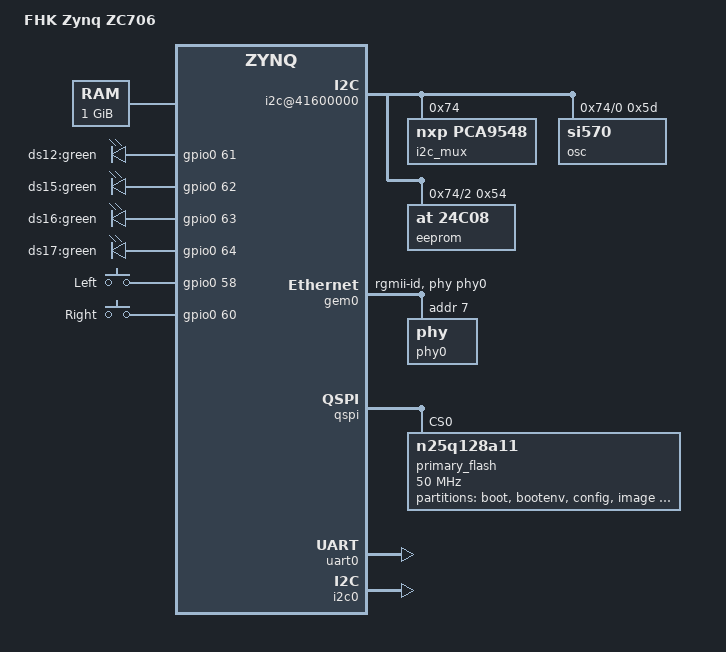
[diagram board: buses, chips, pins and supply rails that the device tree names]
/include/ "zynq.dtsi"

/ {
	model = "FHK Zynq ZC706";
	memory {
		device_type = "memory";
		reg = <0x00000000 0x40000000>;
	};

	chosen {
		bootargs = "console=ttyPS0,115200 root=/dev/mmcblk0p2 rw earlyprintk rootfstype=ext4 rootwait";
		linux,stdout-path = "/amba@0/uart@E0001000";
	};

	leds {
		compatible = "gpio-leds";
		ds8 {
			label = "ds12:green";
			gpios = <&gpio0 61 0>;
		};

		ds9 {
			label = "ds15:green";
			gpios = <&gpio0 62 0>;
		};

		ds10 {
			label = "ds16:green";
			gpios = <&gpio0 63 0>;
		};

		ds35 {
			label = "ds17:green";
			gpios = <&gpio0 64 0>;
		};
	};

	gpio_keys {
		compatible = "gpio-keys";
		#address-cells = <1>;
		#size-cells = <0>;
		autorepeat;

		sw7 {
			label = "Left";
			linux,code = <105>; // Left
			gpios = <&gpio0 58 0>;
		};

		sw8 {
			label = "Right";
			linux,code = <106>; // Right
			gpios = <&gpio0 60 0>;
		};
		/* comment to enable the interrupt of UART0
		sw9 {
			label = "Select";
			linux,code = <28>; // Enter
			gpios = <&gpio0 59 0>;
		};*/
	};

	fpga_axi: fpga-axi@0 {
		compatible = "simple-bus";
		#address-cells = <0x1>;
		#size-cells = <0x1>;
		ranges;
	};

	fpga_axi1: fpga-axi@1 {
		compatible = "simple-bus";
		#address-cells = <0x1>;
		#size-cells = <0x1>;
		ranges;
	};
};

&gem0 {
	phy-handle = <&phy0>;
	phy-mode = "rgmii-id";

	phy0: phy@7 {
		device_type = "ethernet-phy";
		reg = <0x7>;
	};
	/*phy1: phy@1 { 1GE-PHY: M88E1510
		device_type = "ethernet-phy";
		reg = <0x1>;
	};*/
};

&usb0 {
	xlnx,phy-reset-gpio = <&gpio0 7 0>;
	status = "disable";
};

&qspi {
	status = "okay";
	is-dual = <1>;
	num-cs = <1>;
	primary_flash: ps7-qspi@0 {
		#address-cells = <1>;
		#size-cells = <1>;
		spi-tx-bus-width = <1>;
		spi-rx-bus-width = <4>;
		compatible = "n25q128a11";
		reg = <0x0>;
		spi-max-frequency = <50000000>;
		partition@0 {
			label = "boot";
			reg = <0x00000000 0x00500000>;
		};
		partition@500000 {
			label = "bootenv";
			reg = <0x00500000 0x00020000>;
		};
		partition@520000 {
			label = "config";
			reg = <0x00520000 0x00020000>;
		};
		partition@540000 {
			label = "image";
			reg = <0x00540000 0x00a80000>;
		};
		partition@fc0000 {
			label = "spare";
			reg = <0x00fc0000 0x00000000>;
		};
/*
		spi-rx-bus-width = <8>;
		spi-tx-bus-width = <8>;

		compatible = "n25q512a", "micron,m25p80";
		reg = <0>;
		#address-cells = <1>;
		#size-cells = <1>;
		spi-max-frequency = <50000000>;

		partition@0x00000000 {
			label = "boot";
			reg = <0x0 0x500000>;
		};

		partition@0x00500000 {
			label = "bootenv";
			reg = <0x500000 0x20000>;
		};

		partition@0x00520000 {
			label = "kernel";
			reg = <0x520000 0xA80000>;
		};

		partition@0x00fa0000 {
			label = "spare";
			reg = <0xFA0000 0x0>;
		};
*/
	};
};

&uart0 {
	status = "okay";
};

&i2c0 {
	status = "okay";
	/* uspace: i2c-si5324-xgeth.sh
	i2c_mux: i2cswitch@74 {
		compatible = "nxp,pca9548";
		#address-cells = <1>;
		#size-cells = <0>;
		reg = <0x74>;
	};
	clk2xge@68 {
		compatible = "si5324";
		#address-cells = <1>;
		#size-cells = <0>;
		reg = <0x68>;
	};*/
};


&fpga_axi {
		i2c@41600000 {
			compatible = "xlnx,axi-iic-1.02.a", "xlnx,xps-iic-2.00.a";
			reg = <0x41600000 0x10000>;
			interrupt-parent = <&intc>;
			interrupts = <0 58 4>;//UG585, Table 7-4: I2C0 57
			clocks = <&clkc 15>;//fclk0
			clock-names = "pclk";

			#address-cells = <1>;
			#size-cells = <0>;

			i2c_mux: i2cswitch@74 {
				compatible = "nxp,pca9548";
				#address-cells = <1>;
				#size-cells = <0>;
				reg = <0x74>;

				i2c@0 {
					#address-cells = <1>;
					#size-cells = <0>;
					reg = <0>;
					osc@5d {
						compatible = "si570";
						temperature-stability = <50>;
						reg = <0x5d>;
						factory-fout = <156250000>;
						initial-fout = <148500000>;
					};
				};

				/*i2c@1 {
				    #address-cells = <1>;
				    #size-cells = <0>;
				    reg = <1>;

				    adv7511: adv7511 {
						compatible = "adi,adv7511";
						reg = <0x39>, <0x3f>;
						reg-names = "primary", "edid";

						adi,input-depth = <8>;
						adi,input-colorspace = "rgb";
						adi,input-clock = "1x";
						adi,clock-delay = <0>;

						#sound-dai-cells = <0>;

						ports {
							#address-cells = <1>;
							#size-cells = <0>;

							port@0 {
								reg = <0>;
								adv7511_in: endpoint {
									remote-endpoint = <&axi_hdmi_out>;
								};
							};

							port@1 {
								reg = <1>;
							};
						};
				    };
				};*/

				i2c@2 {
					#address-cells = <1>;
					#size-cells = <0>;
					reg = <2>;
					eeprom@54 {
						compatible = "at,24c08";
						reg = <0x54>;
					};
				};

				/*i2c@3 {
					#address-cells = <1>;
					#size-cells = <0>;
					reg = <3>;
					gpio@21 {
						compatible = "ti,tca6416";
						reg = <0x21>;
						gpio-controller;
						#gpio-cells = <2>;
					};
					sensor@48 {
						compatible = "ti,tmp75";// hwmon/lm75.c
						reg = <0x48>;
					};
				};*/

				/*i2c@4 {
					#address-cells = <1>;
					#size-cells = <0>;
					reg = <4>;
					rtc@51 {
						compatible = "nxp,pcf8563";
						reg = <0x51>;
					};
					rtc@68 {
						compatible = "idt,idt1337";// driver unknown
						reg = <0x68>;
					};
				};*/
			};
		};
/*
		hdmi_dma: dma@43000000 {
			compatible = "adi,axi-dmac-1.00.a";
			reg = <0x43000000 0x10000>;
			#dma-cells = <1>;
			interrupts = <0 59 0>;
			clocks = <&clkc 16>;

			adi,channels {
				#size-cells = <0>;
				#address-cells = <1>;

				dma-channel@0 {
					reg = <0>;
					adi,source-bus-width = <64>;
					adi,source-bus-type = <0>;
					adi,destination-bus-width = <64>;
					adi,destination-bus-type = <1>;
				};
			};
		};

		hdmi_clock: axi-clkgen@79000000 {
			compatible = "adi,axi-clkgen-2.00.a";
			reg = <0x79000000 0x10000>;
			#clock-cells = <0>;
			clocks = <&clkc 16>;
		};

		axi_hdmi@70e00000 {
			compatible = "adi,axi-hdmi-tx-1.00.a";
			reg = <0x70e00000 0x10000>;
			dmas = <&hdmi_dma 0>;
			dma-names = "video";
			clocks = <&hdmi_clock>;
			adi,is-rgb;

			port {
				axi_hdmi_out: endpoint {
					remote-endpoint = <&adv7511_in>;
				};
			};
		};

		axi_spdif_tx_0: axi-spdif-tx@75c00000 {
			compatible = "adi,axi-spdif-tx-1.00.a";
			reg = <0x75c00000 0x1000>;
			dmas = <&dmac_s 0>;
			dma-names = "tx";
			clocks = <&clkc 15>, <&audio_clock>;
			clock-names = "axi", "ref";

			#sound-dai-cells = <0>;
		};
*/
};
/*
	audio_clock: audio_clock {
		compatible = "fixed-clock";
		#clock-cells = <0>;
		clock-frequency = <12288000>;
	};

	adv7511_hdmi_snd {
		compatible = "simple-audio-card";
		simple-audio-card,name = "HDMI monitor";
		simple-audio-card,widgets =
			"Speaker", "Speaker";
		simple-audio-card,routing =
			"Speaker", "TX";

		simple-audio-card,dai-link@0 {
			format = "spdif";
			cpu {
				sound-dai = <&axi_spdif_tx_0>;
				frame-master;
				bitclock-master;
			};
			codec {
				sound-dai = <&adv7511>;
			};
		};
	};
*/


&fpga_axi {
/*	// https://xilinx-wiki.atlassian.net/wiki/spaces/A/pages/18842485/Linux+AXI+Ethernet+driver
	xgemac: ethernet@43c30000 {
		reg = <0x43C30000 0x10000>;
		axistream-connected = <&xgedma>;
		axistream-control-connected = <&xgedma>;
		clock-frequency = <156250000>;
		compatible = "xlnx,ten-gig-eth-mac";
		device_type = "network";
		phy-mode = "base-r";
		//phy-mode = "rgmii-id";
		//phy-handle = <&phy5>;
		xlnx = <0x0>;
		xlnx,rxmem = <0x4000>;

		phy5: phy@5 {// 10GE-PHY: M88X3310
			#address-cells = <0x1>;
			#size-cells = <0x0>;
			device_type = "ethernet-phy";
			reg = <0x5>;
		};
	};

	xgedma: xge-dmac@40400000 {
		reg = <0x40400000 0x10000>;
		#dma-cells = <1>;
		axistream-connected = <&xgemac>;
		axistream-control-connected = <&xgemac>;
		clock-names = "s_axi_lite_aclk", "m_axi_sg_aclk";
		clocks = <&clkc 15>;//fclk0
		compatible = "xlnx,eth-dma";
		interrupt-names = "mm2s_introut", "s2mm_introut";
		interrupt-parent = <&intc>;
		interrupts = <0 29 4 0 30 4>;//UG585, todo Table 7-4: IRQF2P[?] -> IRQ[?-32]
	};
*/
};
